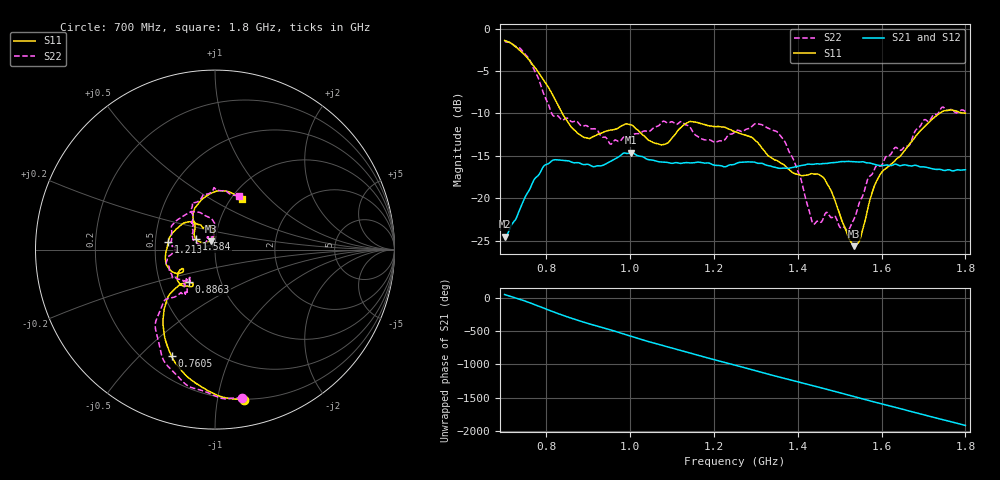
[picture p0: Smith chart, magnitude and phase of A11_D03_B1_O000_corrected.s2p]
! Created with skrf 1.9.0 (http://scikit-rf.org).
# Hz S RI R 50.0
!freq ReS11 ImS11 ReS21 ImS21 ReS12 ImS12 ReS22 ImS22
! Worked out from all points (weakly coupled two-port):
!   1601 points, 700 MHz to 1.8 GHz, reference 50 ohm
!   highest |S21| = -14.60 dB at 1.002 GHz (marker M1); lowest = -24.5 dB at 700.7 MHz (marker M2)
!   lowest |S11| = -25.6 dB at 1.535 GHz (marker M3), VSWR 1.11, Z = 47.5 + j4.46 ohm
!   |S11| at or under -10 dB: 837.9 MHz to 1.738 GHz (900 MHz wide, 69.9 % of centre)
!   |S22| runs from -23.8 to -1.5 dB; largest |S21 - S12| = 0.0034
!   S11 on the Smith chart (normalised r, x): 700 MHz: 0.20, -1.19; 760.5 MHz: 0.31, -0.63; 886.3 MHz: 0.71, -0.27; 1.213 GHz: 0.58, +0.06; 1.584 GHz: 0.80, +0.09; 1.8 GHz: 1.12, +0.70
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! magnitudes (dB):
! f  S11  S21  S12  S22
! 700 MHz  -1.4  -24.5  -24.3  -1.5
! 700.7 MHz  -1.4  -24.5  -24.2  -1.5
! 760.5 MHz  -3.9  -18.9  -18.7  -3.8
! 814.8 MHz  -7.8  -15.5  -15.6  -10.2
! 883.6 MHz  -12.6  -15.9  -15.8  -11.5
! 886.3 MHz  -12.7  -16.0  -15.9  -11.5
! 953 MHz  -11.9  -15.7  -15.6  -13.6
! 1.002 GHz  -11.3  -14.6  -14.7  -12.7
! 1.067 GHz  -13.6  -15.7  -15.6  -11.5
! 1.141 GHz  -11.0  -15.8  -15.8  -11.5
! 1.213 GHz  -11.5  -16.1  -16.1  -13.2
! 1.25 GHz  -12.2  -16.0  -15.9  -12.2
! 1.355 GHz  -15.7  -16.5  -16.4  -12.4
! 1.402 GHz  -17.2  -16.2  -16.2  -17.0
! 1.434 GHz  -17.1  -16.0  -16.0  -22.7
! 1.468 GHz  -18.1  -15.9  -15.9  -21.6
! 1.517 GHz  -24.2  -15.7  -15.7  -23.8
! 1.535 GHz  -25.6  -15.7  -15.7  -22.4
! 1.584 GHz  -18.4  -16.0  -16.0  -16.4
! 1.617 GHz  -16.2  -16.1  -16.1  -15.0
! 1.738 GHz  -10.0  -16.6  -16.6  -9.7
! 1.8 GHz  -10.0  -16.6  -16.6  -9.8
